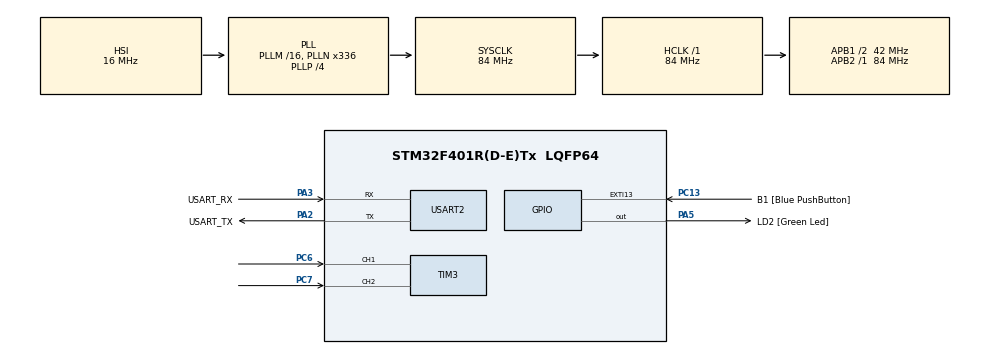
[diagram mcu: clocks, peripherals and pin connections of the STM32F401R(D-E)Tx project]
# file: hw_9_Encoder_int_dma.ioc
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Dma.Request0=USART2_TX
Dma.USART2_TX.0.Direction=DMA_MEMORY_TO_PERIPH
Dma.USART2_TX.0.FIFOMode=DMA_FIFOMODE_DISABLE
Dma.USART2_TX.0.Instance=DMA1_Stream6
Dma.USART2_TX.0.MemDataAlignment=DMA_MDATAALIGN_BYTE
Dma.USART2_TX.0.MemInc=DMA_MINC_ENABLE
Dma.USART2_TX.0.Mode=DMA_NORMAL
Dma.USART2_TX.0.PeriphDataAlignment=DMA_PDATAALIGN_BYTE
Dma.USART2_TX.0.PeriphInc=DMA_PINC_DISABLE
Dma.USART2_TX.0.Priority=DMA_PRIORITY_HIGH
Mcu.Family=STM32F4
Mcu.Name=STM32F401R(D-E)Tx
Mcu.Package=LQFP64
NVIC.DMA1_Stream6_IRQn=true\:0\:0\:false\:false\:true\:false\:true\:true
NVIC.PriorityGroup=NVIC_PRIORITYGROUP_0
NVIC.TIM1_UP_TIM10_IRQn=true\:0\:0\:false\:false\:true\:true\:true\:true
NVIC.USART2_IRQn=true\:0\:0\:false\:false\:true\:true\:true\:true
PA13.GPIO_Label=TMS
PA13.Mode=Serial_Wire
PA13.Signal=SYS_JTMS-SWDIO
PA14.GPIO_Label=TCK
PA14.Mode=Serial_Wire
PA14.Signal=SYS_JTCK-SWCLK
PA2.GPIO_Label=USART_TX
PA2.GPIO_Mode=GPIO_MODE_AF_PP
PA2.GPIO_PuPd=GPIO_NOPULL
PA2.GPIO_Speed=GPIO_SPEED_FREQ_LOW
PA2.Mode=Asynchronous
PA2.Signal=USART2_TX
PA3.GPIO_Label=USART_RX
PA3.GPIO_Mode=GPIO_MODE_AF_PP
PA3.GPIO_PuPd=GPIO_NOPULL
PA3.GPIO_Speed=GPIO_SPEED_FREQ_LOW
PA3.Mode=Asynchronous
PA3.Signal=USART2_RX
PA5.GPIO_Label=LD2 [Green Led]
PA5.GPIO_Mode=GPIO_MODE_OUTPUT_PP
PA5.GPIO_PuPd=GPIO_NOPULL
PA5.GPIO_Speed=GPIO_SPEED_FREQ_LOW
PA5.Signal=GPIO_Output
PB3.GPIO_Label=SWO
PB3.Signal=SYS_JTDO-SWO
PC13-ANTI_TAMP.GPIO_Label=B1 [Blue PushButton]
PC13-ANTI_TAMP.GPIO_ModeDefaultEXTI=GPIO_MODE_IT_FALLING
PC13-ANTI_TAMP.GPIO_PuPd=GPIO_NOPULL
PC13-ANTI_TAMP.Signal=GPXTI13
PC14-OSC32_IN.Mode=LSE-External-Oscillator
PC14-OSC32_IN.Signal=RCC_OSC32_IN
PC15-OSC32_OUT.Mode=LSE-External-Oscillator
PC15-OSC32_OUT.Signal=RCC_OSC32_OUT
PC6.Signal=S_TIM3_CH1
PC7.Signal=S_TIM3_CH2
PH0\ -\ OSC_IN.Mode=HSE-External-Clock-Source
PH0\ -\ OSC_IN.Signal=RCC_OSC_IN
PH1\ -\ OSC_OUT.Mode=HSE-External-Clock-Source
PH1\ -\ OSC_OUT.Signal=RCC_OSC_OUT
ProjectManager.HeapSize=0x200
ProjectManager.StackSize=0x400
ProjectManager.TargetToolchain=STM32CubeIDE
RCC.48MHZClocksFreq_Value=48000000
RCC.AHBFreq_Value=84000000
RCC.APB1CLKDivider=RCC_HCLK_DIV2
RCC.APB1Freq_Value=42000000
RCC.APB1TimFreq_Value=84000000
RCC.APB2Freq_Value=84000000
RCC.APB2TimFreq_Value=84000000
RCC.CortexFreq_Value=84000000
RCC.HCLKFreq_Value=84000000
RCC.HSE_VALUE=8000000
RCC.HSI_VALUE=16000000
RCC.PLLN=336
RCC.PLLP=RCC_PLLP_DIV4
RCC.PLLQ=7
RCC.SYSCLKFreq_VALUE=84000000
RCC.SYSCLKSource=RCC_SYSCLKSOURCE_PLLCLK
RCC.VCOOutputFreq_Value=336000000
SH.S_TIM3_CH1.0=TIM3_CH1,Encoder_Interface
SH.S_TIM3_CH2.0=TIM3_CH2,Encoder_Interface
TIM10.Period=10000-1
TIM10.Prescaler=8400-1
TIM3.ClockDivision=TIM_CLOCKDIVISION_DIV4
TIM3.IC1Filter=15
TIM3.IC1Polarity=TIM_ICPOLARITY_FALLING
TIM3.IC1Prescaler=TIM_ICPSC_DIV1
TIM3.IC2Filter=15
TIM3.IC2Prescaler=TIM_ICPSC_DIV1
TIM3.TIM_MasterSlaveMode=TIM_MASTERSLAVEMODE_DISABLE
USART2.VirtualMode=VM_ASYNC
VP_TIM10_VS_ClockSourceINT.Mode=Enable_Timer
board=NUCLEO-F401RE

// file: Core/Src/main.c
/* USER CODE BEGIN Header */
/**
  ******************************************************************************
  * @file           : main.c
  * @brief          : Main program body
  ******************************************************************************
  * @attention
  *
  * Copyright (c) 2023 STMicroelectronics.
  * All rights reserved.
  *
  * This software is licensed under terms that can be found in the LICENSE file
  * in the root directory of this software component.
  * If no LICENSE file comes with this software, it is provided AS-IS.
  *
  ******************************************************************************
  */
/* USER CODE END Header */
#include "main.h"

TIM_HandleTypeDef htim3;
TIM_HandleTypeDef htim10;

UART_HandleTypeDef huart2;
DMA_HandleTypeDef hdma_usart2_tx;

/* USER CODE BEGIN PV */
uint16_t counts = 0;
uint16_t oldcounts = 0;
int delta = 0;

char string[64];
/* USER CODE END PV */

void SystemClock_Config(void);
static void MX_GPIO_Init(void);
static void MX_DMA_Init(void);
static void MX_USART2_UART_Init(void);
static void MX_TIM3_Init(void);
static void MX_TIM10_Init(void);

/* USER CODE BEGIN 0 */
void HAL_TIM_PeriodElapsedCallback(TIM_HandleTypeDef *htim) {

	if (htim == &htim10) {

		oldcounts = counts;
		counts = __HAL_TIM_GET_COUNTER(&htim3);
		delta = counts - oldcounts;

		if (delta > 32768) delta -= 65536;
		else if (delta < -32768) delta += 65536;

		float rpms = (delta/24.0)*60;

		snprintf(string, sizeof(string), "-> delta: %d \t| speed: %.2f rpm \t| count: %d\r\n", delta, rpms, counts);
		HAL_UART_Transmit_DMA(&huart2, (uint8_t *)string, strlen(string));

	}

}
/* USER CODE END 0 */

int main(void)
{

  /* MCU Configuration--------------------------------------------------------*/

  /* Reset of all peripherals, Initializes the Flash interface and the Systick. */
  HAL_Init();

  /* Configure the system clock */
  SystemClock_Config();

  /* Initialize all configured peripherals */
  MX_GPIO_Init();
  MX_DMA_Init();
  MX_USART2_UART_Init();
  MX_TIM3_Init();
  MX_TIM10_Init();
  /* USER CODE BEGIN 2 */
  HAL_TIM_Encoder_Start(&htim3, TIM_CHANNEL_ALL);
  HAL_TIM_Base_Start_IT(&htim10);
  /* USER CODE END 2 */

  /* Infinite loop */
  while (1)
  {

  }
}

void SystemClock_Config(void)
{
  RCC_OscInitTypeDef RCC_OscInitStruct = {0};
  RCC_ClkInitTypeDef RCC_ClkInitStruct = {0};

  /** Configure the main internal regulator output voltage
  */
  __HAL_RCC_PWR_CLK_ENABLE();
  __HAL_PWR_VOLTAGESCALING_CONFIG(PWR_REGULATOR_VOLTAGE_SCALE2);

  /** Initializes the RCC Oscillators according to the specified parameters
  * in the RCC_OscInitTypeDef structure.
  */
  RCC_OscInitStruct.OscillatorType = RCC_OSCILLATORTYPE_HSI;
  RCC_OscInitStruct.HSIState = RCC_HSI_ON;
  RCC_OscInitStruct.HSICalibrationValue = RCC_HSICALIBRATION_DEFAULT;
  RCC_OscInitStruct.PLL.PLLState = RCC_PLL_ON;
  RCC_OscInitStruct.PLL.PLLSource = RCC_PLLSOURCE_HSI;
  RCC_OscInitStruct.PLL.PLLM = 16;
  RCC_OscInitStruct.PLL.PLLN = 336;
  RCC_OscInitStruct.PLL.PLLP = RCC_PLLP_DIV4;
  RCC_OscInitStruct.PLL.PLLQ = 7;
  if (HAL_RCC_OscConfig(&RCC_OscInitStruct) != HAL_OK)
  {
    Error_Handler();
  }

  /** Initializes the CPU, AHB and APB buses clocks
  */
  RCC_ClkInitStruct.ClockType = RCC_CLOCKTYPE_HCLK|RCC_CLOCKTYPE_SYSCLK
                              |RCC_CLOCKTYPE_PCLK1|RCC_CLOCKTYPE_PCLK2;
  RCC_ClkInitStruct.SYSCLKSource = RCC_SYSCLKSOURCE_PLLCLK;
  RCC_ClkInitStruct.AHBCLKDivider = RCC_SYSCLK_DIV1;
  RCC_ClkInitStruct.APB1CLKDivider = RCC_HCLK_DIV2;
  RCC_ClkInitStruct.APB2CLKDivider = RCC_HCLK_DIV1;

  if (HAL_RCC_ClockConfig(&RCC_ClkInitStruct, FLASH_LATENCY_2) != HAL_OK)
  {
    Error_Handler();
  }
}

static void MX_TIM3_Init(void)
{

  TIM_Encoder_InitTypeDef sConfig = {0};
  TIM_MasterConfigTypeDef sMasterConfig = {0};

  htim3.Instance = TIM3;
  htim3.Init.Prescaler = 0;
  htim3.Init.CounterMode = TIM_COUNTERMODE_UP;
  htim3.Init.Period = 65535;
  htim3.Init.ClockDivision = TIM_CLOCKDIVISION_DIV4;
  htim3.Init.AutoReloadPreload = TIM_AUTORELOAD_PRELOAD_DISABLE;
  sConfig.EncoderMode = TIM_ENCODERMODE_TI1;
  sConfig.IC1Polarity = TIM_ICPOLARITY_FALLING;
  sConfig.IC1Selection = TIM_ICSELECTION_DIRECTTI;
  sConfig.IC1Prescaler = TIM_ICPSC_DIV1;
  sConfig.IC1Filter = 15;
  sConfig.IC2Polarity = TIM_ICPOLARITY_RISING;
  sConfig.IC2Selection = TIM_ICSELECTION_DIRECTTI;
  sConfig.IC2Prescaler = TIM_ICPSC_DIV1;
  sConfig.IC2Filter = 15;
  if (HAL_TIM_Encoder_Init(&htim3, &sConfig) != HAL_OK)
  {
    Error_Handler();
  }
  sMasterConfig.MasterOutputTrigger = TIM_TRGO_RESET;
  sMasterConfig.MasterSlaveMode = TIM_MASTERSLAVEMODE_DISABLE;
  if (HAL_TIMEx_MasterConfigSynchronization(&htim3, &sMasterConfig) != HAL_OK)
  {
    Error_Handler();
  }

}

static void MX_TIM10_Init(void)
{

  htim10.Instance = TIM10;
  htim10.Init.Prescaler = 8400-1;
  htim10.Init.CounterMode = TIM_COUNTERMODE_UP;
  htim10.Init.Period = 10000-1;
  htim10.Init.ClockDivision = TIM_CLOCKDIVISION_DIV1;
  htim10.Init.AutoReloadPreload = TIM_AUTORELOAD_PRELOAD_DISABLE;
  if (HAL_TIM_Base_Init(&htim10) != HAL_OK)
  {
    Error_Handler();
  }

}

static void MX_USART2_UART_Init(void)
{

  huart2.Instance = USART2;
  huart2.Init.BaudRate = 115200;
  huart2.Init.WordLength = UART_WORDLENGTH_8B;
  huart2.Init.StopBits = UART_STOPBITS_1;
  huart2.Init.Parity = UART_PARITY_NONE;
  huart2.Init.Mode = UART_MODE_TX_RX;
  huart2.Init.HwFlowCtl = UART_HWCONTROL_NONE;
  huart2.Init.OverSampling = UART_OVERSAMPLING_16;
  if (HAL_UART_Init(&huart2) != HAL_OK)
  {
    Error_Handler();
  }

}

static void MX_DMA_Init(void)
{

  /* DMA controller clock enable */
  __HAL_RCC_DMA1_CLK_ENABLE();

  /* DMA interrupt init */
  /* DMA1_Stream6_IRQn interrupt configuration */
  HAL_NVIC_SetPriority(DMA1_Stream6_IRQn, 0, 0);
  HAL_NVIC_EnableIRQ(DMA1_Stream6_IRQn);

}

static void MX_GPIO_Init(void)
{
  GPIO_InitTypeDef GPIO_InitStruct = {0};

  /* GPIO Ports Clock Enable */
  __HAL_RCC_GPIOC_CLK_ENABLE();
  __HAL_RCC_GPIOH_CLK_ENABLE();
  __HAL_RCC_GPIOA_CLK_ENABLE();
  __HAL_RCC_GPIOB_CLK_ENABLE();

  /*Configure GPIO pin Output Level */
  HAL_GPIO_WritePin(LD2_GPIO_Port, LD2_Pin, GPIO_PIN_RESET);

  /*Configure GPIO pin : B1_Pin */
  GPIO_InitStruct.Pin = B1_Pin;
  GPIO_InitStruct.Mode = GPIO_MODE_IT_FALLING;
  GPIO_InitStruct.Pull = GPIO_NOPULL;
  HAL_GPIO_Init(B1_GPIO_Port, &GPIO_InitStruct);

  /*Configure GPIO pin : LD2_Pin */
  GPIO_InitStruct.Pin = LD2_Pin;
  GPIO_InitStruct.Mode = GPIO_MODE_OUTPUT_PP;
  GPIO_InitStruct.Pull = GPIO_NOPULL;
  GPIO_InitStruct.Speed = GPIO_SPEED_FREQ_LOW;
  HAL_GPIO_Init(LD2_GPIO_Port, &GPIO_InitStruct);

}

void Error_Handler(void)
{
  __disable_irq();
  while (1)
  {
  }
}
